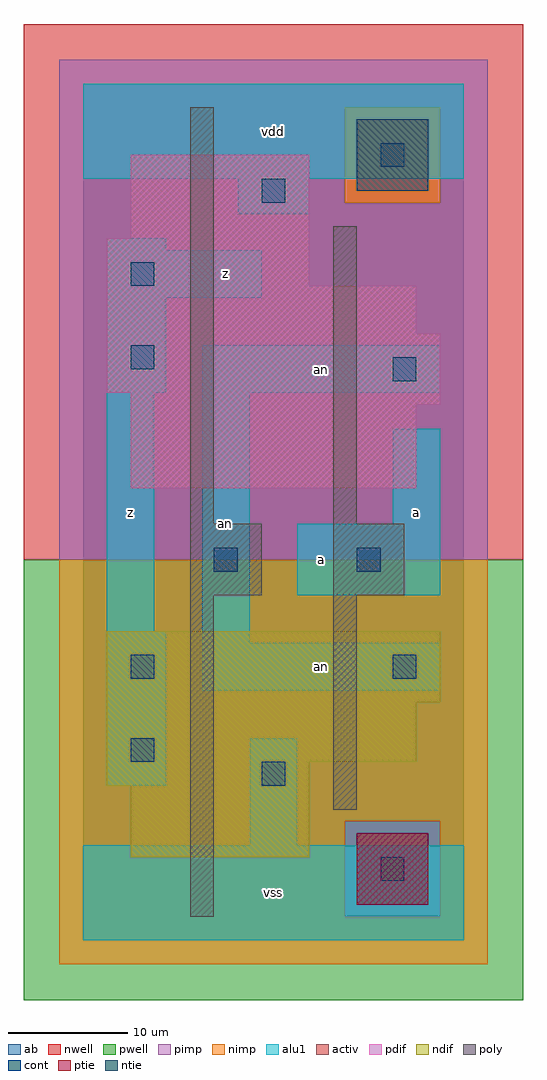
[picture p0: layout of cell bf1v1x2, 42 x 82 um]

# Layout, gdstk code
import gdstk
lib = gdstk.Library(unit=1e-6, precision=1e-09)
def R(c, l, rs):  # rectangles x0, y0, x1, y1
    for r in rs: c.add(gdstk.rectangle(r[:2], r[2:], *l))
ndif = (3, 0)
pdif = (4, 0)
ntie = (5, 0)
ptie = (6, 0)
cont = (25, 0)
pwell = (41, 0)
nwell = (42, 0)
activ = (43, 0)
pimp = (44, 0)
nimp = (45, 0)
poly = (46, 0)
alu1 = (49, 0)
ab = (63, 0)

bf1v1x2 = lib.new_cell('bf1v1x2')
R(bf1v1x2, ndif, [(4,7,19,13), (2,13,19,15), (2,15,28,20), (2,20,30,26)])
R(bf1v1x2, pdif, [(4,38,28,45), (4,45,30,46), (2,46,30,51), (2,51,28,55), (2,55,19,59), (4,59,19,66)])
R(bf1v1x2, ntie, [(23,63,29,69)])
R(bf1v1x2, ptie, [(23,3,29,9)])
R(bf1v1x2, cont, [(25,5,27,7), (15,13,17,15), (4,15,6,17), (4,22,6,24), (26,22,28,24), (11,31,13,33), (23,31,25,33), (26,47,28,49), (4,48,6,50), (4,55,6,57), (15,62,17,64), (25,65,27,67)])
R(bf1v1x2, pwell, [(-5,-5,37,32)])
R(bf1v1x2, nwell, [(-5,32,37,77)])
R(bf1v1x2, activ, [(23,3,29,9), (4,7,19,13), (2,13,19,15), (2,15,28,20), (2,20,30,26), (4,38,28,45), (4,45,30,46), (2,46,30,51), (2,51,28,55), (2,55,19,59), (4,59,19,66), (23,63,29,69)])
R(bf1v1x2, pimp, [(22,2,30,10), (-2,32,34,62), (-2,62,22,70), (30,62,34,70), (-2,70,34,74)])
R(bf1v1x2, nimp, [(-2,-2,34,2), (-2,2,22,10), (30,2,34,10), (-2,10,34,32), (22,62,30,70)])
R(bf1v1x2, poly, [(9,2,11,29), (21,11,23,29), (9,29,15,35), (21,29,27,35), (9,35,11,70), (21,35,23,60)])
R(bf1v1x2, alu1, [(0,0,32,8), (14,8,18,17), (2,13,7,26), (10,21,30,25), (10,25,14,46), (2,26,6,46), (18,29,30,35), (26,35,30,43), (2,46,7,54), (10,46,30,50), (2,54,15,58), (2,58,7,59), (13,61,19,64), (0,64,32,72)])
R(bf1v1x2, ab, [(0,0,32,72)])
bf1v1x2.add(gdstk.Label('an', (12,35), layer=49, texttype=0))
bf1v1x2.add(gdstk.Label('an', (20,23), layer=49, texttype=0))
bf1v1x2.add(gdstk.Label('an', (20,48), layer=49, texttype=0))
bf1v1x2.add(gdstk.Label('z', (4,36), layer=49, texttype=0))
bf1v1x2.add(gdstk.Label('vss', (16,4), layer=49, texttype=0))
bf1v1x2.add(gdstk.Label('z', (12,56), layer=49, texttype=0))
bf1v1x2.add(gdstk.Label('vdd', (16,68), layer=49, texttype=0))
bf1v1x2.add(gdstk.Label('a', (20,32), layer=49, texttype=0))
bf1v1x2.add(gdstk.Label('a', (28,36), layer=49, texttype=0))

lib.write_gds('bf1v1x2.gds')
